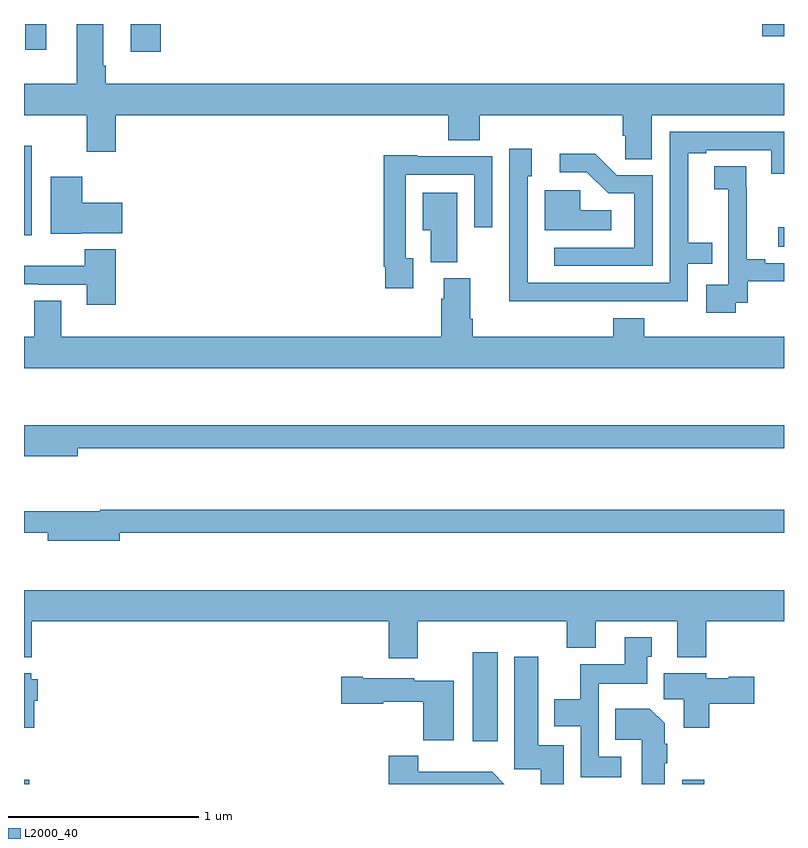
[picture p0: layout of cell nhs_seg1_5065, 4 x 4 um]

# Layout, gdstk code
import gdstk
lib = gdstk.Library(unit=1e-6, precision=1e-09)
def R(c, l, rs):  # rectangles x0, y0, x1, y1
    for r in rs: c.add(gdstk.rectangle(r[:2], r[2:], *l))
def P(c, l, *ps):  # polygons
    for p in ps: c.add(gdstk.Polygon(p, *l))
L2000_40 = (2000, 40)

nhs_seg1_5065 = lib.new_cell('nhs_seg1_5065')
R(nhs_seg1_5065, L2000_40, [(385,560.199,385.028,560.221), (388.464,560.199,388.58,560.221), (387.362,560.424,387.493,560.893), (388.97,563.026,389,563.13), (385,563.088,385.042,563.557), (385.562,564.054,385.721,564.199), (385.007,564.063,385.117,564.199), (388.886,564.135,389,564.199)])
P(nhs_seg1_5065, L2000_40, [(388.303,563.72),(389,563.72),(389,563.884),(385.43,563.884),(385.43,563.98),(385.417,563.98),(385.417,564.199),(385.277,564.199),(385.277,563.884),(385,563.884),(385,563.72),(385.331,563.72),(385.331,563.526),(385.484,563.526),(385.484,563.72),(387.233,563.72),(387.233,563.587),(387.398,563.587),(387.398,563.72),(388.151,563.72),(388.151,563.611),(388.164,563.611),(388.164,563.488),(388.303,563.488)],
  [(388.016,562.74),(388.494,562.74),(388.494,562.938),(388.622,562.938),(388.622,563.047),(388.495,563.047),(388.495,563.52),(388.591,563.52),(388.591,563.535),(388.932,563.535),(388.932,563.412),(389,563.412),(389,563.631),(388.398,563.631),(388.398,562.836),(387.651,562.836),(387.651,563.397),(387.673,563.397),(387.673,563.542),(387.555,563.542),(387.555,563.042),(387.554,563.042),(387.554,562.739),(388.016,562.739)],
  [(388.308,563.403),(388.119,563.403),(388.006,563.516),(387.819,563.516),(387.819,563.418),(387.963,563.418),(388.074,563.307),(388.212,563.307),(388.212,563.022),(387.792,563.022),(387.792,562.926),(388.308,562.926)],
  [(387.049,562.965),(387.009,562.965),(387.009,563.406),(387.369,563.406),(387.369,563.13),(387.465,563.13),(387.465,563.502),(387.069,563.502),(387.069,563.509),(386.893,563.509),(386.893,562.921),(386.901,562.921),(386.901,562.809),(387.049,562.809)],
  [(388.746,562.731),(388.808,562.731),(388.808,562.845),(389,562.845),(389,562.941),(388.9,562.941),(388.9,562.961),(388.804,562.961),(388.804,563.339),(388.802,563.339),(388.802,563.45),(388.632,563.45),(388.632,563.329),(388.706,563.329),(388.706,563.131),(388.707,563.131),(388.707,562.827),(388.59,562.827),(388.59,562.68),(388.746,562.68)],
  [(385.302,563.099),(385.516,563.099),(385.516,563.257),(385.306,563.257),(385.306,563.395),(385.142,563.395),(385.142,563.096),(385.302,563.096)],
  [(388.09,563.218),(387.927,563.218),(387.927,563.325),(387.74,563.325),(387.74,563.114),(388.09,563.114)],
  [(387.28,563.311),(387.098,563.311),(387.098,563.114),(387.14,563.114),(387.14,562.945),(387.28,562.945)],
  [(385.484,563.014),(385.319,563.014),(385.319,562.927),(385,562.927),(385,562.83),(385.075,562.83),(385.075,562.827),(385.331,562.827),(385.331,562.722),(385.484,562.722)],
  [(389,562.552),(388.265,562.552),(388.265,562.651),(388.1,562.651),(388.1,562.552),(387.362,562.552),(387.362,562.648),(387.349,562.648),(387.349,562.86),(387.209,562.86),(387.209,562.754),(387.197,562.754),(387.197,562.552),(385.195,562.552),(385.195,562.742),(385.055,562.742),(385.055,562.552),(385,562.552),(385,562.388),(389,562.388)],
  [(385.282,561.966),(389,561.966),(389,562.087),(385,562.087),(385,561.923),(385.282,561.923)],
  [(385.504,561.522),(389,561.522),(389,561.643),(385.4,561.643),(385.4,561.635),(385,561.635),(385,561.522),(385.124,561.522),(385.124,561.479),(385.504,561.479)],
  [(387.073,561.056),(387.857,561.056),(387.857,560.915),(388.009,560.915),(388.009,561.056),(388.439,561.056),(388.439,560.867),(388.592,560.867),(388.592,561.056),(389,561.056),(389,561.22),(385,561.22),(385,560.867),(385.04,560.867),(385.04,561.056),(386.921,561.056),(386.921,560.862),(387.073,560.862)],
  [(388.144,560.343),(388.026,560.343),(388.026,560.726),(388.279,560.726),(388.279,560.868),(388.303,560.868),(388.303,560.971),(388.163,560.971),(388.163,560.83),(387.928,560.83),(387.928,560.644),(387.791,560.644),(387.791,560.504),(387.93,560.504),(387.93,560.235),(388.144,560.235)],
  [(387.841,560.404),(387.706,560.404),(387.706,560.869),(387.581,560.869),(387.581,560.277),(387.719,560.277),(387.719,560.199),(387.841,560.199)],
  [(388.607,560.621),(388.843,560.621),(388.843,560.763),(388.71,560.763),(388.71,560.755),(388.59,560.755),(388.59,560.782),(388.367,560.782),(388.367,560.644),(388.472,560.644),(388.472,560.496),(388.607,560.496)],
  [(385.055,560.637),(385.073,560.637),(385.073,560.751),(385.038,560.751),(385.038,560.782),(385,560.782),(385,560.496),(385.055,560.496)],
  [(387.262,560.743),(387.054,560.743),(387.054,560.755),(386.782,560.755),(386.782,560.763),(386.67,560.763),(386.67,560.621),(386.892,560.621),(386.892,560.633),(387.1,560.633),(387.1,560.429),(387.262,560.429)],
  [(388.372,560.308),(388.385,560.308),(388.385,560.411),(388.372,560.411),(388.372,560.518),(388.294,560.596),(388.111,560.596),(388.111,560.432),(388.25,560.432),(388.25,560.199),(388.372,560.199)],
  [(387.465,560.263),(387.076,560.263),(387.076,560.347),(386.921,560.347),(386.921,560.199),(387.528,560.199)])

lib.write_gds('nhs_seg1_5065.gds')
